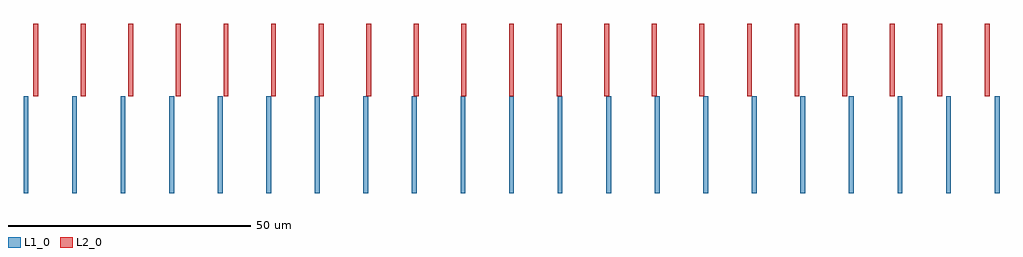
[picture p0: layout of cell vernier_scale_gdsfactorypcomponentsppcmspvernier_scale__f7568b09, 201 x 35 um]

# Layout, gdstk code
import gdstk
lib = gdstk.Library(unit=1e-6, precision=1e-09)
def R(c, l, rs):  # rectangles x0, y0, x1, y1
    for r in rs: c.add(gdstk.rectangle(r[:2], r[2:], *l))
def A(c, l, x, y, w, h, nx, ny, dx, dy):  # array of equal rectangles
    R(c, l, [(x+i*dx, y+j*dy, x+i*dx+w, y+j*dy+h) for i in range(nx) for j in range(ny)])
L1_0 = (1, 0)
L2_0 = (2, 0)

vernier_scale_gdsfactory = lib.new_cell('vernier_scale_gdsfactorypcomponentsppcmspvernier_scale__f7568b09')
A(vernier_scale_gdsfactory, L1_0, -100.5, -20, 1, 20, 21, 1, 10, 0)
A(vernier_scale_gdsfactory, L2_0, -98.5, 0, 1, 15, 21, 1, 9.8, 0)

lib.write_gds('vernier_scale_gdsfactorypcomponentsppcmspvernier_scale__f7568b09.gds')
